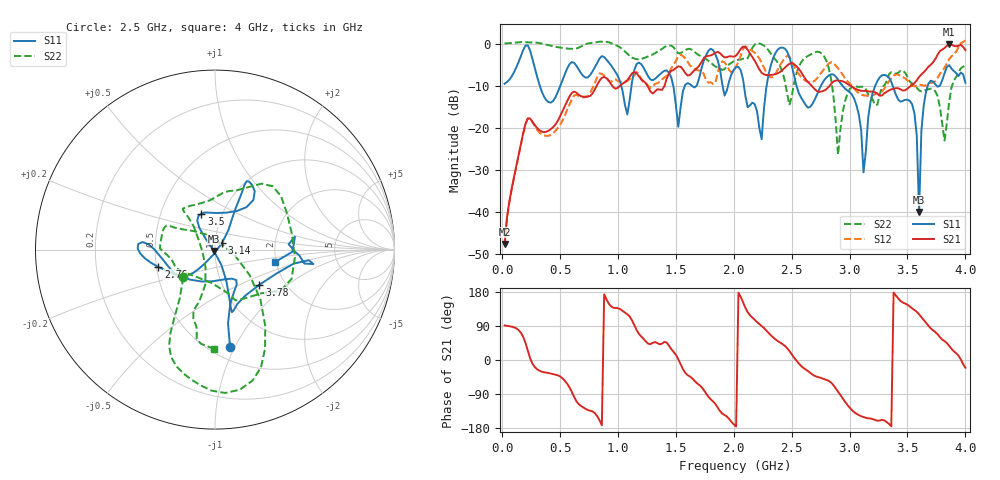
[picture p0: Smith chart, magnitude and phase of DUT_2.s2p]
# Hz S DB R 50
! CMT, S5180, 51801906, 22.3.3/1
! Date: 27/01/2023 17:18:21
! Data: Format (Calibration Info)
! Freq	S11:dB/Ang(F2)	S21:dB/Ang(F2)	S12:dB/Ang(F2)	S22:dB/Ang(F2)
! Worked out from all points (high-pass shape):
!   200 points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, 20.5 MHz to 4 GHz, reference 50 ohm
!   highest |S21| = -0.18 dB at 3.86 GHz (marker M1); lowest = -47.7 dB at 20.5 MHz (marker M2)
!   |S21| within 3 dB of the highest: 1.946 GHz to 2.16 GHz (213.4 MHz wide, 10.4 % of centre); 3.75 GHz to end of sweep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
!   lowest |S11| = -40.1 dB at 3.6 GHz (marker M3), VSWR 1.02, Z = 49.4 - j0.765 ohm
!   |S11| at or under -10 dB: 2.087 GHz to 2.284 GHz (196.1 MHz wide, 8.97 % of centre); 2.938 GHz to 3.222 GHz (284.1 MHz wide, 9.23 % of centre); 3.372 GHz to 3.676 GHz (303.7 MHz wide, 8.62 % of centre)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
!   |S22| runs from -26.5 to 0.4 dB; largest |S21 - S12| = 0.67
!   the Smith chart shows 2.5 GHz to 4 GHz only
!   S11 on the Smith chart (normalised r, x): 2.5 GHz: 0.62, -0.96; 2.76 GHz: 0.51, -0.11; 3.14 GHz: 1.08, +0.08; 3.5 GHz: 0.80, +0.34; 3.78 GHz: 1.49, -0.65; 4 GHz: 1.98, -0.31
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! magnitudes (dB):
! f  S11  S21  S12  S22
! 20.5 MHz  -9.6  -47.7  -48.2  0.0
! 220.5 MHz  -0.4  -17.8  -17.9  0.3
! 400.4 MHz  -13.9  -20.7  -21.9  -0.4
! 700.4 MHz  -7.7  -12.6  -12.8  -0.4
! 1.36 GHz  -7.4  -10.9  -9.1  -1.6
! 1.52 GHz  -19.8  -5.4  -3.0  -2.3
! 2.02 GHz  -5.6  -2.9  -5.4  -3.9
! 2.24 GHz  -22.7  -6.9  -4.6  -0.2
! 2.34 GHz  -3.4  -7.4  -7.9  -3.2
! 2.5 GHz  -5.2  -4.7  -4.1  -12.6
! 2.68 GHz  -14.3  -10.3  -9.1  -2.4
! 2.76 GHz  -9.6  -11.4  -6.8  -2.4
! 2.9 GHz  -8.6  -8.8  -5.9  -26.5
! 3.14 GHz  -25.7  -11.2  -12.4  -10.9
! 3.34 GHz  -8.1  -11.1  -9.0  -7.3
! 3.5 GHz  -13.4  -10.7  -8.8  -8.0
! 3.58 GHz  -21.9  -8.7  -10.0  -10.5
! 3.6 GHz  -40.1  -8.0  -9.8  -11.2
! 3.64 GHz  -14.7  -6.8  -10.0  -11.3
! 3.78 GHz  -10.0  -1.8  -7.2  -15.1
! 3.86 GHz  -5.1  -0.2  -3.7  -13.8
! 4 GHz  -9.3  -1.6  0.7  -5.1
